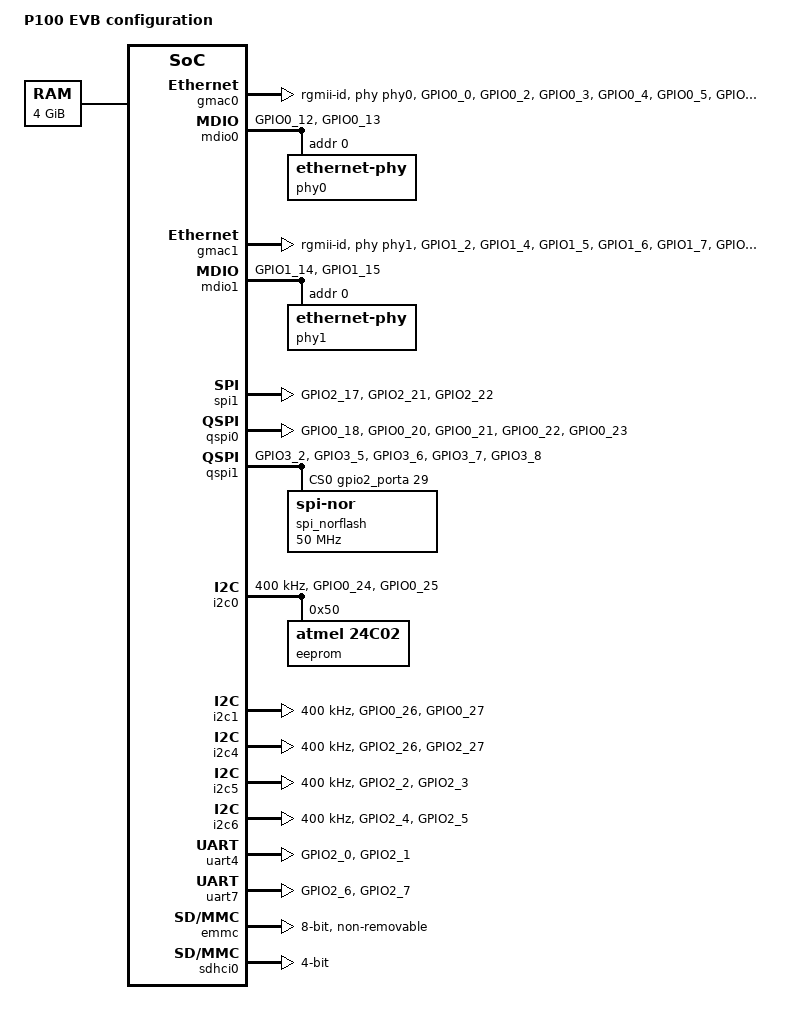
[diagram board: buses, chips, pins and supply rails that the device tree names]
/dts-v1/;

#include "p100-soc-core.dtsi"
#include "p100-soc-peri.dtsi"
#include "p100-platform-evb.dtsi"

#define SOUND_CARD_LINK(REG, FMT, CPU, M, CODEC, N) \
	simple-audio-card,dai-link@##REG { \
		reg = <REG>; \
		format = #FMT; \
		cpu { \
			sound-dai = <&audio_##CPU M>; \
		}; \
		codec { \
			sound-dai = <&codec_##CODEC N>; \
		}; \
	}

/ {
	model = "P100 EVB configuration";

	aliases {
		ethernet0 = &gmac0;
		ethernet1 = &gmac1;

		gpio0 = &gpio0;
		gpio1 = &gpio1;
		gpio2 = &gpio2;
		gpio3 = &gpio3;
		gpio4 = &gpio4;

		i2c0 = &i2c0;
		i2c1 = &i2c1;
		i2c2 = &i2c2;
		i2c3 = &i2c3;
		i2c4 = &i2c4;
		i2c5 = &i2c5;
		i2c6 = &i2c6;
		i2c7 = &i2c7;

		can0 = &can0;
		can1 = &can1;
		can2 = &can2;

		mmc0 = &emmc;
		mmc1 = &sdhci0;
		serial0 = &uart0;
		serial1 = &uart1;
		serial2 = &uart2;
		serial3 = &uart3;
		serial4 = &uart4;
		serial5 = &uart5;
		serial6 = &uart6;
		serial7 = &uart7;
		serial8 = &uart8;
		serial9 = &uart9;
		spi0 = &qspi0;
		spi1 = &qspi1;
		spi2 = &spi0;
		spi3 = &spi1;
		pcie3x4 = &dm3x4;
		pcie3x1 = &rp3x1;
	};

	/* The first 2M will be reserved in the Kernel, and the entire available range is set here */
	memory@0 {
		device_type = "memory";
		reg = <0x00 0x80000000  0x01 0x00000000>; /* 4G - 64MB */
		numa-node-id = <0>;
	};

	reserved-memory {
		#address-cells = <2>;
		#size-cells = <2>;
		ranges;

		linux,cma {
			compatible = "shared-dma-pool";
			reusable;
			size = <0x00 0x4000000>;
			alloc-ranges = <0x00 0x90000000 0x00 0x4000000>;
			linux,cma-default;
		};

		memory@1c000000 {
			reg = <0x00 0x1c000000 0x00 0x2000000>;
			no-map;
		};

		framebuffer: framebuffer@10000000 {
			reg = <0x01 0x00 0x00 0x20000000>;
			no-map;
		};

		zh_videomem@100000000 {
			reg = <0x01 0x00 0x00 0x20000000>;
			no-map;
		};

		npu_mmu_memory@130000000 {
			reg = <0x01 0x30000000 0x00 0x04000000>;
			no-map;
		};

		memblock-memory@17b800000 {
			reg = <0x01 0x7b800000 0x00 0x04000000>;
			no-map;
		};
	};

	/* The bootargs in U-Boot will override the configuration set here. */
	chosen {
		stdout-path = "serial4";
	};
};

&peri1_padctrl {
	gmac0_pins: gmac0-0 {
		tx-pins {
			pins = "GPIO0_0", /* GMAC0_TX_CLK */
			       "GPIO0_2", /* GMAC0_TXEN */
			       "GPIO0_3", /* GMAC0_TXD0 */
			       "GPIO0_4", /* GMAC0_TXD1 */
			       "GPIO0_5", /* GMAC0_TXD2 */
			       "GPIO0_6"; /* GMAC0_TXD3 */
			function = "gmac0";
			bias-disable;
			drive-strength = <25>;
			input-disable;
			input-schmitt-disable;
			slew-rate = <0>;
		};

		rx-pins {
			pins = "GPIO0_1",  /* GMAC0_RX_CLK */
			       "GPIO0_7",  /* GMAC0_RXDV */
			       "GPIO0_8",  /* GMAC0_RXD0 */
			       "GPIO0_9",  /* GMAC0_RXD1 */
			       "GPIO0_10", /* GMAC0_RXD2 */
			       "GPIO0_11"; /* GMAC0_RXD3 */
			function = "gmac0";
			bias-disable;
			drive-strength = <1>;
			input-enable;
			input-schmitt-disable;
			slew-rate = <0>;
		};
	};
	mdio0_pins: mdio0-0 {
		mdc-pins {
			pins = "GPIO0_12"; /* GMAC0_MDC */
			function = "gmac0";
			bias-disable;
			drive-strength = <13>;
			input-disable;
			input-schmitt-disable;
			slew-rate = <0>;
		};

		mdio-pins {
			pins = "GPIO0_13"; /* GMAC0_MDIO */
			function = "gmac0";
			bias-disable;
			drive-strength = <13>;
			input-enable;
			input-schmitt-enable;
			slew-rate = <0>;
		};
	};
	i2c0_pins: i2c0-1 {
		i2c-pins {
			pins = "GPIO0_24", "GPIO0_25";
			function = "i2c0";
			bias-disable;
			drive-strength = <7>;
			input-enable;
			input-schmitt-enable;
			slew-rate = <0>;
		};
	};
	i2c1_pins: i2c1-1 {
		i2c-pins {
			pins = "GPIO0_26", "GPIO0_27";
			function = "i2c1";
			bias-disable;
			drive-strength = <7>;
			input-enable;
			input-schmitt-enable;
			slew-rate = <0>;
		};
	};
	pcie_x1_pins: pcie_x1-1 {
		pcie_x1-pins {
			pins = "GPIO0_24", "GPIO0_25", "GPIO0_26", "GPIO0_27";
			function = "pcie_x1";
			bias-disable;
			drive-strength = <7>;
			input-enable;
			input-schmitt-enable;
			slew-rate = <0>;
		};
	};
	pcie_x4_pins: pcie_x4-1 {
		pcie_x4-pins {
			pins = "GPIO0_28", "GPIO0_29", "GPIO0_30", "GPIO0_31";
			function = "pcie_x4";
			bias-disable;
			drive-strength = <7>;
			input-enable;
			input-schmitt-enable;
			slew-rate = <0>;
		};
	};
	gmac1_pins: gmac1-0 {
		tx-pins {
			pins = "GPIO1_2", /* GMAC1_TX_CLK */
			       "GPIO1_4", /* GMAC1_TXEN */
			       "GPIO1_5", /* GMAC1_TXD0 */
			       "GPIO1_6", /* GMAC1_TXD1 */
			       "GPIO1_7", /* GMAC1_TXD2 */
			       "GPIO1_8"; /* GMAC1_TXD3 */
			function = "gmac1";
			bias-disable;
			drive-strength = <25>;
			input-disable;
			input-schmitt-disable;
			slew-rate = <0>;
		};

		rx-pins {
			pins = "GPIO1_3",  /* GMAC1_RX_CLK */
			       "GPIO1_9",  /* GMAC1_RXDV */
			       "GPIO1_10", /* GMAC1_RXD0 */
			       "GPIO1_11", /* GMAC1_RXD1 */
			       "GPIO1_12", /* GMAC1_RXD2 */
			       "GPIO1_13"; /* GMAC1_RXD3 */
			function = "gmac1";
			bias-disable;
			drive-strength = <1>;
			input-enable;
			input-schmitt-disable;
			slew-rate = <0>;
		};
	};
	mdio1_pins: mdio1-0 {
		mdc-pins {
			pins = "GPIO1_14"; /* GMAC1_MDC */
			function = "gmac1";
			bias-disable;
			drive-strength = <13>;
			input-disable;
			input-schmitt-disable;
			slew-rate = <0>;
		};

		mdio-pins {
			pins = "GPIO1_15"; /* GMAC1_MDIO */
			function = "gmac1";
			bias-disable;
			drive-strength = <13>;
			input-enable;
			input-schmitt-enable;
			slew-rate = <0>;
		};
	};
};

&peri2_padctrl {
	uart4_pins: uart4-0 {
		tx-pins {
			pins = "GPIO2_0";
			function = "uart4";
			bias-disable;
			drive-strength = <3>;
			input-disable;
			input-schmitt-disable;
			slew-rate = <0>;
		};

		rx-pins {
			pins = "GPIO2_1";
			function = "uart4";
			bias-disable;
			drive-strength = <1>;
			input-enable;
			input-schmitt-enable;
			slew-rate = <0>;
		};
	};
	i2c5_pins: i2c5-0 {
		i2c-pins {
			pins = "GPIO2_2", "GPIO2_3";
			function = "i2c5";
			bias-disable;
			drive-strength = <7>;
			input-enable;
			input-schmitt-enable;
			slew-rate = <0>;
		};
	};
	uart5_pins: uart5-0 {
		tx-pins {
			pins = "GPIO2_2";
			function = "uart5";
			bias-disable;
			drive-strength = <3>;
			input-disable;
			input-schmitt-disable;
			slew-rate = <0>;
		};

		rx-pins {
			pins = "GPIO2_3";
			function = "uart5";
			bias-disable;
			drive-strength = <1>;
			input-enable;
			input-schmitt-enable;
			slew-rate = <0>;
		};
	};
	i2c6_pins: i2c6-0 {
		i2c-pins {
			pins = "GPIO2_4", "GPIO2_5";
			function = "i2c6";
			bias-disable;
			drive-strength = <7>;
			input-enable;
			input-schmitt-enable;
			slew-rate = <0>;
		};
	};
	uart7_pins: uart7-0 {
		tx-pins {
			pins = "GPIO2_6";
			function = "uart7";
			bias-disable;
			drive-strength = <3>;
			input-disable;
			input-schmitt-disable;
			slew-rate = <0>;
		};

		rx-pins {
			pins = "GPIO2_7";
			function = "uart7";
			bias-disable;
			drive-strength = <1>;
			input-enable;
			input-schmitt-enable;
			slew-rate = <0>;
		};
	};
	// i2c4_pins: i2c4-0 {
	// 	i2c-pins {
	// 		pins = "GPIO2_6", "GPIO2_7";
	// 		function = "i2c4";
	// 		bias-disable;
	// 		drive-strength = <7>;
	// 		input-enable;
	// 		input-schmitt-enable;
	// 		slew-rate = <0>;
	// 	};
	// };
	i2c7_pins: i2c7-0 {
		i2c-pins {
			pins = "GPIO2_10", "GPIO2_11";
			function = "i2c7";
			bias-disable;
			drive-strength = <7>;
			input-enable;
			input-schmitt-enable;
			slew-rate = <0>;
		};
	};
	spi1_pins: spi1-1 {
		spi-pins {
			pins = "GPIO2_17", "GPIO2_21", "GPIO2_22";
			function = "spi1";
			bias-disable;
			drive-strength = <7>;
			input-enable;
			input-schmitt-enable;
			slew-rate = <0>;
		};
	};
	i2c4_pins: i2c4-2 {
		i2c-pins {
			pins = "GPIO2_26", "GPIO2_27";
			function = "i2c4";
			bias-disable;
			drive-strength = <7>;
			input-enable;
			input-schmitt-enable;
			slew-rate = <0>;
		};
	};
	hdmi_pins: hdmi-0 {
		hdmi-pins {
			pins = "GPIO2_25", "GPIO2_30", "GPIO2_31";
			function = "hdmi";
			bias-disable;
			drive-strength = <3>;
			input-enable;
			input-schmitt-disable;
			slew-rate = <0>;
		};
	};
	sen_vclk_pins: sen_vclk-1 {
		sen_vclk-pins {
			pins = "GPIO3_0", "GPIO3_2";
			function = "sen_vclk";
			bias-disable;
			drive-strength = <7>;
			input-enable;
			input-schmitt-enable;
			slew-rate = <0>;
		};
	};
	qspi1_pins: qspi1-1 {
		qspi-pins {
			pins = "GPIO3_2", "GPIO3_5", "GPIO3_6", "GPIO3_7", "GPIO3_8";
			function = "qspi1";
			bias-disable;
			drive-strength = <7>;
			input-enable;
			input-schmitt-enable;
			slew-rate = <0>;
		};
	};
	qspi0_pins: qspi0-0 {
		qspi-pins {
			pins = "GPIO0_18", "GPIO0_20", "GPIO0_21", "GPIO0_22", "GPIO0_23";
			function = "qspi0";
			bias-disable;
			drive-strength = <7>;
			input-enable;
			input-schmitt-enable;
			slew-rate = <0>;
		};
	};
	i2c7_smb_pins: i2c7-smb-0 {
		i2c-pins {
			pins = "GPIO3_6", "GPIO3_7", "GPIO3_8", "GPIO3_9", "GPIO3_10";
			function = "i2c7_smb";
			bias-disable;
			drive-strength = <7>;
			input-enable;
			input-schmitt-enable;
			slew-rate = <0>;
		};
	};
	usb31_pins: usb31-0 {
		usb31-pins {
			pins = "GPIO3_10";
			function = "usb31";
			bias-disable;
			drive-strength = <7>;
			input-enable;
			input-schmitt-enable;
			slew-rate = <0>;
		};
	};
};

&gmac0 {
	phy-mode = "rgmii-id";
	pinctrl-names = "default";
	pinctrl-0 = <&gmac0_pins>;
	rx-clk-delay = <0x00>; /* for RGMII */
	tx-clk-delay = <0x00>; /* for RGMII */
	phy-handle = <&phy0>;
};

&mdio0 {
	pinctrl-names = "default";
	pinctrl-0 = <&mdio0_pins>;

	phy0: ethernet-phy@0 {
		reg = <0x0>;
	};
};

&gmac1 {
	phy-mode = "rgmii-id";
	pinctrl-names = "default";
	pinctrl-0 = <&gmac1_pins>;
	rx-clk-delay = <0x00>; /* for RGMII */
	tx-clk-delay = <0x00>; /* for RGMII */
	phy-handle = <&phy1>;
	status = "okay";
};

&mdio1 {
	pinctrl-names = "default";
	pinctrl-0 = <&mdio1_pins>;

	phy1: ethernet-phy@0 {
		reg = <0x0>;
	};
};

&spi1 {
	cs-gpios = <&gpio2_porta 18 0>;
	rx-sample-delay-ns = <10>;
	pinctrl-names = "default";
	pinctrl-0 = <&spi1_pins>;
	status = "okay";

	spi_norflash@0 {
		status = "disabled";
		#address-cells = <1>;
		#size-cells = <1>;
		compatible = "jedec,spi-nor";
		reg = <0>;
		spi-max-frequency = <50000000>;
		w25q,fast-read;
	};
};

&qspi0 {
	cs-gpios = <&gpio0_porta 15 0>;		// QSPI0_CSN1
	// cs-gpios = <&gpio0_porta 19 0>;		// QSPI0_CSN0
	rx-sample-dly = <4>;
	pinctrl-names = "default";
	pinctrl-0 = <&qspi0_pins>;

	spi_norflash@0 {
		compatible = "jedec,spi-nor";
		#address-cells = <1>;
		#size-cells = <1>;
		spi-tx-bus-width = <4>;
		spi-rx-bus-width = <4>;
		spi-max-frequency = <50000000>;
		reg = <0>;
		status = "disabled";
	};

	spi-nandflash@1 {
		#address-cells = <1>;
		#size-cells = <1>;
		compatible = "spi-nand";
		spi-max-frequency = <100000000>;
		spi-tx-bus-width = <4>;
		spi-rx-bus-width = <4>;
		reg = <1>;
		status = "disabled";

		partition@0 {
			label = "nand1";
			reg = <0x00000000 0x08000000>;
		};
	};
};

&qspi1 {
	cs-gpios = <&gpio2_porta 29 0>;
	rx-sample-dly = <4>;
	pinctrl-names = "default";
	pinctrl-0 = <&qspi1_pins>;

	spi_norflash@0 {
		compatible = "jedec,spi-nor";
		#address-cells = <1>;
		#size-cells = <1>;
		spi-tx-bus-width = <4>;
		spi-rx-bus-width = <4>;
		spi-max-frequency = <50000000>;
		reg = <0>;
		status = "okay";
	};

	spi-nandflash@1 {
		#address-cells = <1>;
		#size-cells = <1>;
		compatible = "spi-nand";
		spi-max-frequency = <100000000>;
		spi-tx-bus-width = <4>;
		spi-rx-bus-width = <4>;
		reg = <1>;
		status = "disabled";

		partition@0 {
			label = "nand1";
			reg = <0x00000000 0x08000000>;
		};
	};
};

&i2c0 {
	pinctrl-names = "default";
	pinctrl-0 = <&i2c0_pins>;
	clock-frequency = <400000>;

	eeprom@50 {
		status = "okay";
		compatible = "atmel,24c02";
		reg = <0x50>;
		pagesize = <16>;
	};

	codec_es8156_dac0: es8156@8 {
		compatible = "everest,es8156";
		reg = <0x8>;
		#sound-dai-cells = <1>;
		sound-name-prefix = "ES8156_DAC0";
		mclk-sclk-ratio = <4>;
		status = "disabled";
	};

	codec_es7210_adc0: es7210@40 {
		compatible = "MicArray_0";
		reg = <0x40>;
		#sound-dai-cells = <1>;
		work-mode = "ES7210_NORMAL_I2S";
		channels-max = <2>;
		mclk-sclk-ratio = <4>;
		sound-name-prefix = "ES7210_ADC0";
		status = "disabled";
	};

	audio_aw87565_pa0: audio_pa0@58 {
		compatible = "awinic,aw87565_pa";
		reg = <0x58>;
		sound-name-prefix = "AW87565_PA0";
		status = "disabled";
	};

	audio_aw87565_pa1: audio_pa1@5b {
		compatible = "awinic,aw87565_pa";
		reg = <0x5b>;
		sound-name-prefix = "AW87565_PA1";
		status = "disabled";
	};
};

&i2c1 {
	pinctrl-names = "default";
	pinctrl-0 = <&i2c1_pins>;
	clock-frequency = <400000>;

	codec_es8156_dac1: es8156@8 {
		compatible = "everest,es8156";
		reg = <0x8>;
		#sound-dai-cells = <1>;
		sound-name-prefix = "ES8156_DAC1";
		mclk-sclk-ratio = <4>;
		status = "disabled";
	};

	codec_es7210_adc1: es7210@40 {
		compatible = "MicArray_1";
		reg = <0x40>;
		#sound-dai-cells = <1>;
		work-mode = "ES7210_NORMAL_I2S";
		channels-max = <2>;
		mclk-sclk-ratio = <4>;
		sound-name-prefix = "ES7210_ADC1";
		status = "disabled";
	};

	audio_aw87565_pa2: audio_pa2@58 {
		compatible = "awinic,aw87565_pa";
		reg = <0x58>;
		sound-name-prefix = "AW87565_PA2";
		status = "disabled";
	};

	audio_aw87565_pa3: audio_pa3@5b {
		compatible = "awinic,aw87565_pa";
		reg = <0x5b>;
		sound-name-prefix = "AW87565_PA3";
		status = "disabled";
	};
};

&i2c4 {
	pinctrl-names = "default";
	pinctrl-0 = <&i2c4_pins>;
	clock-frequency = <400000>;
};

&i2c5 {
	pinctrl-names = "default";
	pinctrl-0 = <&i2c5_pins>;
	clock-frequency = <400000>;
};

&i2c6 {
	pinctrl-names = "default";
	pinctrl-0 = <&i2c6_pins>;
	clock-frequency = <400000>;
};

&uart4 {
	pinctrl-names = "default";
	pinctrl-0 = <&uart4_pins>;
};

&uart7 {
	pinctrl-names = "default";
	pinctrl-0 = <&uart7_pins>;
};

&emmc {
	max-frequency = <196608000>;
	non-removable;
	mmc-hs200-1_8v;
	io_fixed_1v8;
	is_emmc;
	no-sdio;
	no-sd;
	pull_up;
	bus-width = <8>;
};

&sdhci0 {
	max-frequency = <196608000>;
	bus-width = <4>;
	pull_up;
	wprtn_ignore;
};

&vp_dfmu_iommu {
    status = "disabled";
};

&vp_dfmu_mt {
    status = "disabled";
};

&npu_dfmu_iommu {
    status = "disabled";
};

&npu_dfmu_mt {
    status = "disabled";
};

&vi_dfmu_iommu {
    status = "disabled";
};

&vi_dfmu_mt {
    status = "disabled";
};

&vo_dfmu_iommu {
    status = "disabled";
};

&vo_dfmu_mt {
    status = "disabled";
};

&peri1_dfmu_iommu {
    status = "okay";
};

&peri1_dfmu_mt {
    status = "disabled";
};

&pcie_dfmu_iommu {
    status = "okay";
};

&pcie_dfmu_mt {
    status = "disabled";
};

&usb_dfmu_iommu {
    status = "okay";
};

&usb_dfmu_mt {
    status = "disabled";
};

//////////////////////////////////////////////////////////////////////////////////////////////////////////////

/* FIXME: clk stages overlay to be selected for real SOC. */

/* bringup stage 3: full subsys + high freq */
/* refer to maximum clk freq in p100-soc-core.dtsi */

/* bringup stage 2: full subsys + medium freq*/
&clk_peri {
	peri1_spi_ssi_clk_frequency = <220000000>;
	peri2_spi_ssi_clk_frequency = <220000000>;
	peri1_qspi_ssi_clk_frequency = <220000000>;
	peri2_qspi_ssi_clk_frequency = <220000000>;
	uart_sclk_frequency = <24000000>;
	emmc_ref_clk_frequency = <203076924>;
	tee_clk_frequency = <200000000>;
};

&clk_pcie {
	pcie_ss_axi_m_aclk_frequency = <240000000>;
};

&clk_npu {
	npu_cclk_frequency = <600000000>;
	npu_aclk_frequency = <600000000>;
};

&emmc {
	max-frequency = <49152000>;
};

&sdhci0 {
	max-frequency = <49152000>;
};

/* bringup stage 1: minisys + low freq */
&clk {
	top_cfg_aclk_frequency = <165000000>;
	top_pclk_frequency = <82500000>;
	top_amux_clk_frequency = <240000000>;
	iommu_ptw_aclk_frequency = <165000000>;
	noc_cclk_frequency = <240000000>;
	top_cpusys_bus_clk_frequency = <220000000>;
	top_cpusys_pic_clk_frequency = <250000000>;
};

&clk_peri {
	peri1_spi_ssi_clk_frequency = <220000000>;
	peri2_spi_ssi_clk_frequency = <220000000>;
	peri1_qspi_ssi_clk_frequency = <220000000>;
	peri2_qspi_ssi_clk_frequency = <220000000>;
	uart_sclk_frequency = <24000000>;
	emmc_ref_clk_frequency = <203076924>;
	peri1_mst_aclk_frequency = <165000000>;
	peri3_mst_aclk_frequency = <220000000>;
	tee_clk_frequency = <200000000>;
};

&emmc {
	max-frequency = <49152000>;
};

&sdhci0 {
	max-frequency = <49152000>;
};
